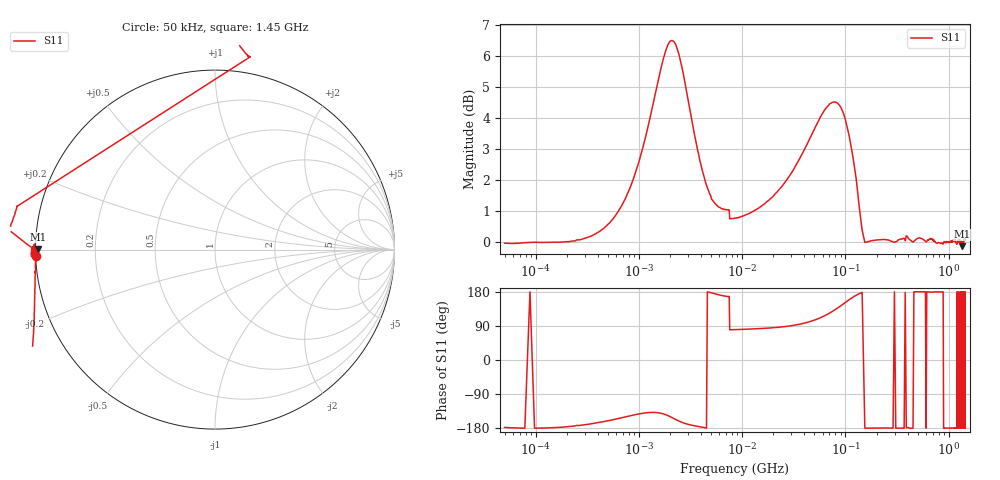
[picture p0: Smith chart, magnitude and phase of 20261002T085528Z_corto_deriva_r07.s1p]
! piloto_deriva / corto_deriva / r07
# HZ S RI R 50
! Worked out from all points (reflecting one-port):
!   501 points, 50 kHz to 1.45 GHz, reference 50 ohm
!   lowest |S11| = -0.1 dB at 1.347 GHz (marker M1), VSWR 142.47, Z = 0.351 + j0.104 ohm
!   phase of S11 starts at -178 deg and turns -2 deg over the sweep
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50000  -0.9965 -0.0358
183000  -1 -0.0517
373000  -1.004 -0.2333
658000  -1.014 -0.5101
1180000  -1.134 -0.9766
1630000  -1.468 -1.212
1990000  -1.805 -1.085
2170000  -1.898 -0.9139
2440000  -1.899 -0.6483
3070000  -1.634 -0.2702
4330000  -1.264 -0.0301
7300000  -1.101 0.2426
7750000  0.195 1.074
8560000  0.188 1.077
1.99e7  0.1017 1.181
3.16e7  -0.0349 1.311
4.78e7  -0.344 1.459
6.76e7  -0.8587 1.419
8.02e7  -1.157 1.218
9.46e7  -1.362 0.876
9.82e7  -1.385 0.7836
1e8  -1.391 0.7379
1.18e8  -1.331 0.3402
1.36e8  -1.135 0.0994
1.63e8  -1.002 -0.00324
4.06e8  -1.014 -0.0218
1.3465e9  -0.9861 0.0041
1.45e9  -1.011 -0.00524
